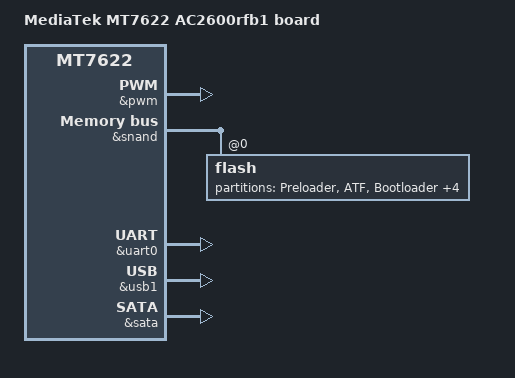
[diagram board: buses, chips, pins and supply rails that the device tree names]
/*
 * Copyright (c) 2017 MediaTek Inc.
 * Author: Ming Huang <ming.huang@mediatek.com>
 *
 * This program is free software; you can redistribute it and/or modify
 * it under the terms of the GNU General Public License version 2 as
 * published by the Free Software Foundation.
 *
 * This program is distributed in the hope that it will be useful,
 * but WITHOUT ANY WARRANTY; without even the implied warranty of
 * MERCHANTABILITY or FITNESS FOR A PARTICULAR PURPOSE.  See the
 * GNU General Public License for more details.
 */

/dts-v1/;
#include "mt7622.dtsi"
#include "mt6380.dtsi"
#include <dt-bindings/input/input.h>

/ {
	model = "MediaTek MT7622 AC2600rfb1 board";
	compatible = "mediatek,mt7622-ac2600rfb1", "mediatek,mt7622";

	chosen {
		bootargs = "console=ttyS0,115200n1 root=/dev/mtdblock7 swiotlb=512 \
			initrd=0x44000000,0x615E36 loglevel=8 rootfstype=squashfs";
	};

	mmc_fixed_1v8_io: fixedregulator@0 {
		compatible = "regulator-fixed";
		regulator-name = "mmc_io";
		regulator-min-microvolt = <1800000>;
		regulator-max-microvolt = <1800000>;
		regulator-always-on;
	};

	mmc_fixed_3v3_power: fixedregulator@1 {
		compatible = "regulator-fixed";
		regulator-name = "mmc_power";
		regulator-min-microvolt = <3300000>;
		regulator-max-microvolt = <3300000>;
		regulator-always-on;
	};

	memory {
		reg = <0 0x40000000 0 0x3F000000>;
	};

	sound: sound {
		compatible = "mediatek,mt7622-wm8960-machine";
		mediatek,platform = <&afe>;
		audio-routing =
				"Headphone", "HP_L",
				"Headphone", "HP_R",
				"LINPUT2", "AMIC",
				"RINPUT2", "AMIC";
		mediatek,audio-codec = <&wm8960>;
		pinctrl-names = "default";
		pinctrl-0 = <&aud_pins_default>;
		status = "disabled";
	};

	gpio-keys {
		compatible = "gpio-keys";
		#address-cells = <1>;
		#size-cells = <0>;

		reset {
			label = "reset";
			gpios = <&pio 0 1>;
			linux,code = <KEY_RESTART>;
		};

		wps {
			label = "wps";
			gpios = <&pio 102 1>;
			linux,code = <KEY_WPS_BUTTON>;
		};
	};

};

&auxadc {
	status = "okay";
};

&bch {
	status = "disabled";
};

&cpu0 {
	proc-supply = <&mt6380_vcpu_reg>;
	sram-supply = <&mt6380_vm_reg>;
};

&cpu1 {
	proc-supply = <&mt6380_vcpu_reg>;
	sram-supply = <&mt6380_vm_reg>;
};

&efuse {
	status = "okay";
};

&raeth {
	mac-address = [00 00 00 00 00 00];
	dma-coherent;
	wan_at = "p4";
	gmac1-support = "sgmii-1";
	sgmii-mode-1 = "force-2500";
	#gmac1-support = "rgmii-1";
	#rgmii-mode-1 = "force-1000";
	#gmac1-phy-address = <0x1f>;
	gmac2-support = "rgmii-2";
	rgmii-mode-2 = "force-1000";
	#rgmii-mode-2 = "an";
	#gmac2-phy-address = <0x1e>;
	gmac1_txq_num = <1>;
	gmac1_txq_txd_num = <2048>;
	gmac2_txq_num = <1>;
	gmac2_txq_txd_num = <1024>;
	num_rx_desc = <2048>;
	status = "okay";
};

&ioc {
	mediatek,en_eth;
};

&i2c0 {
	pinctrl-names = "default";
	pinctrl-0 = <&i2c0_pins>;
	status = "disabled";

	wm8960: wm8960@1a {
		compatible = "wlf,wm8960";
		reg = <0x1a>;
	};
};

&i2c1 {
	status = "okay";
};

&i2c2 {
	status = "okay";
};

&mmc0 {
	pinctrl-names = "default", "state_uhs";
	pinctrl-0 = <&mmc0_pins_default>;
	pinctrl-1 = <&mmc0_pins_uhs>;
	status = "okay";
	bus-width = <8>;
	max-frequency = <50000000>;
	cap-mmc-highspeed;
	mmc-hs200-1_8v;
	vmmc-supply = <&mmc_fixed_3v3_power>;
	vqmmc-supply = <&mmc_fixed_1v8_io>;
	assigned-clocks = <&topckgen CLK_TOP_MSDC30_0_SEL>;
	assigned-clock-parents = <&topckgen CLK_TOP_UNIV48M>;
	non-removable;
};

&mmc1 {
	pinctrl-names = "default", "state_uhs";
	pinctrl-0 = <&mmc1_pins_default>;
	pinctrl-1 = <&mmc1_pins_uhs>;
	status = "okay";
	bus-width = <4>;
	max-frequency = <50000000>;
	cap-sd-highspeed;
	r_smpl = <1>;
	cd-gpios = <&pio 81 0>;
	vmmc-supply = <&mmc_fixed_3v3_power>;
	vqmmc-supply = <&mmc_fixed_3v3_power>;
	assigned-clocks = <&topckgen CLK_TOP_MSDC30_1_SEL>;
	assigned-clock-parents = <&topckgen CLK_TOP_UNIV48M>;
};

&nandc {
	pinctrl-names = "default";
	pinctrl-0 = <&nand_pins_default>;
	status = "disabled";
	flash@0 {
		reg = <0>;
		nand-ecc-mode = "hw";
		partitions {
			compatible = "fixed-partitions";
			#address-cells = <1>;
			#size-cells = <1>;

			partition@0 {
				label = "Preloader";
				reg = <0x00000 0x0080000>;
				read-only;
			};

			partition@80000 {
				label = "ATF";
				reg = <0x80000 0x0040000>;
			};

			partition@c0000 {
				label = "Bootloader";
				reg = <0xc0000 0x0080000>;
			};

			partition@140000 {
				label = "Config";
				reg = <0x140000 0x0080000>;
			};

			partition@1c0000 {
				label = "Factory";
				reg = <0x1c0000 0x0040000>;
			};

			partition@200000 {
				label = "Kernel";
				reg = <0x200000 0x2000000>;
			};

			partition@2200000 {
				label = "User_data";
				reg = <0x2200000 0x4000000>;
			};
		};
	};
};

&nor_flash {
	status = "okay";
	flash@0 {
		compatible = "jedec,spi-nor";
		#address-cells = <1>;
		#size-cells = <1>;
		partition@00000 {
			label = "Preloader";
			reg = <0x00000 0x0040000>;
		};
		partition@40000 {
			label = "ATF";
			reg = <0x40000 0x0020000>;
		};
		partition@60000 {
			label = "Bootloader";
			reg = <0x60000 0x0040000>;
		};
		partition@A0000 {
			label = "Config";
			reg = <0xA0000 0x0020000>;
		};
		partition@C0000 {
			label = "Factory";
			reg = <0xC0000 0x0020000>;
		};
		partition@E0000 {
			label = "Kernel";
			reg = <0xE0000 0xF20000>;
		};
	};
};

&pio {
	pinctrl-names = "default";
	pinctrl-0 = <&state_default>;
	state_default:pinconf_default {
	};

	aud_pins_default: audiodefault {
		pins_cmd_dat {
			pinmux = <MT7622_PIN_3_I2S_BCLK__FUNC_I2S_BCLK_OUT>,
				<MT7622_PIN_4_I2S_WS__FUNC_I2S_WS_OUT>,
				<MT7622_PIN_5_I2S_MCLK__FUNC_I2S_MCLK>,
				<MT7622_PIN_2_I2S1_OUT__FUNC_I2S1_OUT>,
				<MT7622_PIN_1_I2S1_IN__FUNC_I2S1_IN>;
			drive-strength = <MTK_DRIVE_12mA>;
			bias-pull-down;
		};
	};

	i2c0_pins: i2c0@0 {
		pins_bus {
			pinmux = <MT7622_PIN_14_I2C_SDA__FUNC_I2C0_SDA>,
				 <MT7622_PIN_15_I2C_SCL__FUNC_I2C0_SCL>;
			bias-disable;
		};
	};

	mmc0_pins_default: mmc0default {
		pins_cmd_dat {
			pinmux = <MT7622_PIN_47_NDL0__FUNC_EMMC_DATA0>,
			       <MT7622_PIN_48_NDL1__FUNC_EMMC_DATA1>,
			       <MT7622_PIN_49_NDL2__FUNC_EMMC_DATA2>,
			       <MT7622_PIN_50_NDL3__FUNC_EMMC_DATA3>,
			       <MT7622_PIN_40_NDL4__FUNC_EMMC_DATA4>,
			       <MT7622_PIN_41_NDL5__FUNC_EMMC_DATA5>,
			       <MT7622_PIN_42_NDL6__FUNC_EMMC_DATA6>,
			       <MT7622_PIN_43_NDL7__FUNC_EMMC_DATA7>,
			       <MT7622_PIN_44_NRB__FUNC_EMMC_CMD>;
			input-enable;
			bias-pull-up;
		};

		pins_clk {
			pinmux = <MT7622_PIN_45_NCLE__FUNC_EMMC_CK>;
			bias-pull-down;
		};
	};

	mmc0_pins_uhs: mmc0@0{
		pins_cmd_dat {
			pinmux = <MT7622_PIN_47_NDL0__FUNC_EMMC_DATA0>,
			       <MT7622_PIN_48_NDL1__FUNC_EMMC_DATA1>,
			       <MT7622_PIN_49_NDL2__FUNC_EMMC_DATA2>,
			       <MT7622_PIN_50_NDL3__FUNC_EMMC_DATA3>,
			       <MT7622_PIN_40_NDL4__FUNC_EMMC_DATA4>,
			       <MT7622_PIN_41_NDL5__FUNC_EMMC_DATA5>,
			       <MT7622_PIN_42_NDL6__FUNC_EMMC_DATA6>,
			       <MT7622_PIN_43_NDL7__FUNC_EMMC_DATA7>,
			       <MT7622_PIN_44_NRB__FUNC_EMMC_CMD>;
			input-enable;
			drive-strength = <MTK_DRIVE_4mA>;
			bias-pull-up = <MTK_PUPD_SET_R1R0_01>;
		};

		pins_clk {
			pinmux = <MT7622_PIN_45_NCLE__FUNC_EMMC_CK>;
			drive-strength = <MTK_DRIVE_4mA>;
			bias-pull-down = <MTK_PUPD_SET_R1R0_10>;
		};
	};

	mmc1_pins_default: mmc1default {
		pins_cmd_dat {
			pinmux = <MT7622_PIN_19_I2S2_OUT__FUNC_SD_D0>,
			       <MT7622_PIN_18_I2S4_IN__FUNC_SD_D1>,
			       <MT7622_PIN_17_I2S3_IN__FUNC_SD_D2>,
			       <MT7622_PIN_16_I2S2_IN__FUNC_SD_D3>,
			       <MT7622_PIN_21_I2S4_OUT__FUNC_SD_CMD>;
			input-enable;
			drive-strength = <MTK_DRIVE_8mA>;
			bias-pull-up = <MTK_PUPD_SET_R1R0_01>;
		};

		pins_clk {
			pinmux = <MT7622_PIN_20_I2S3_OUT__FUNC_SD_CLK>;
			drive-strength = <MTK_DRIVE_12mA>;
			bias-pull-down = <MTK_PUPD_SET_R1R0_10>;
		};

		pins_insert {
			pinmux = <MT7622_PIN_81_TXD3__FUNC_GPIO81>;
			bias-pull-up;
		};
	};

	mmc1_pins_uhs: mmc1@0 {
		pins_cmd_dat {
			pinmux = <MT7622_PIN_19_I2S2_OUT__FUNC_SD_D0>,
			       <MT7622_PIN_18_I2S4_IN__FUNC_SD_D1>,
			       <MT7622_PIN_17_I2S3_IN__FUNC_SD_D2>,
			       <MT7622_PIN_16_I2S2_IN__FUNC_SD_D3>,
			       <MT7622_PIN_21_I2S4_OUT__FUNC_SD_CMD>;
			input-enable;
			bias-pull-up = <MTK_PUPD_SET_R1R0_01>;
		};

		pins_clk {
			pinmux = <MT7622_PIN_20_I2S3_OUT__FUNC_SD_CLK>;
			bias-pull-down = <MTK_PUPD_SET_R1R0_10>;
		};
	};

	nand_pins_default: nanddefault {
		pins_dat {
			pinmux = <MT7622_PIN_37_NCEB__FUNC_ND_CS_N>,
				 <MT7622_PIN_38_NWEB__FUNC_ND_WE_N>,
				 <MT7622_PIN_39_NREB__FUNC_ND_RE_N>,
				 <MT7622_PIN_40_NDL4__FUNC_ND_D4>,
				 <MT7622_PIN_41_NDL5__FUNC_ND_D5>,
				 <MT7622_PIN_42_NDL6__FUNC_ND_D6>,
				 <MT7622_PIN_43_NDL7__FUNC_ND_D7>,
				 <MT7622_PIN_44_NRB__FUNC_ND_RB_N>,
				 <MT7622_PIN_45_NCLE__FUNC_ND_CLE>,
				 <MT7622_PIN_46_NALE__FUNC_ND_ALE>,
				 <MT7622_PIN_47_NDL0__FUNC_ND_D0>,
				 <MT7622_PIN_48_NDL1__FUNC_ND_D1>,
				 <MT7622_PIN_49_NDL2__FUNC_ND_D2>,
				 <MT7622_PIN_50_NDL3__FUNC_ND_D3>;
			input-enable;
			drive-strength = <MTK_DRIVE_8mA>;
			bias-pull-up;
		};
	};

	snand_pins_default: snand@0 {
		pins_cmd_dat {
			pinmux = <MT7622_PIN_8_SPI_WP__FUNC_SNFI_WP>,
				 <MT7622_PIN_9_SPI_HOLD__FUNC_SNFI_HOLD>,
				 <MT7622_PIN_11_SPI_MOSI__FUNC_SNFI_MOSI>,
				 <MT7622_PIN_12_SPI_MISO__FUNC_SNFI_MISO>,
				 <MT7622_PIN_13_SPI_CS__FUNC_SNFI_CS>;
			input-enable;
			drive-strength = <MTK_DRIVE_16mA>;
			bias-pull-up = <MTK_PUPD_SET_R1R0_01>;
		};
		pins_clk {
			pinmux = <MT7622_PIN_10_SPI_CLK__FUNC_SNFI_CLK>;
			drive-strength = <MTK_DRIVE_16mA>;
			bias-pull-down = <MTK_PUPD_SET_R1R0_10>;
		};
	};

	wbsys_pins_default: wbsysdefault {
	};

	wbsys_pins_epa: wbsysepa {
		pins_cmd_dat {
			pinmux = <MT7622_PIN_91_TXD4__FUNC_ANTSEL0>,
			       <MT7622_PIN_92_RXD4__FUNC_ANTSEL1>,
			       <MT7622_PIN_93_RTS4_N__FUNC_ANTSEL2>,
			       <MT7622_PIN_94_CTS4_N__FUNC_ANTSEL3>,
			       <MT7622_PIN_95_PWM1__FUNC_ANTSEL4>,
			       <MT7622_PIN_96_PWM2__FUNC_ANTSEL5>,
			       <MT7622_PIN_97_PWM3__FUNC_ANTSEL6>,
			       <MT7622_PIN_98_PWM4__FUNC_ANTSEL7>,
			       <MT7622_PIN_99_PWM5__FUNC_ANTSEL8>,
			       <MT7622_PIN_100_PWM6__FUNC_ANTSEL9>,
			       <MT7622_PIN_73_SPIC1_CLK__FUNC_ANTSEL12>,
			       <MT7622_PIN_74_SPIC1_MOSI__FUNC_ANTSEL13>,
			       <MT7622_PIN_75_SPIC1_MISO__FUNC_ANTSEL14>,
			       <MT7622_PIN_76_SPIC1_CS__FUNC_ANTSEL15>,
			       <MT7622_PIN_77_GPIO_D__FUNC_ANTSEL16>,
			       <MT7622_PIN_22_GPIO_B__FUNC_ANTSEL17>;
		};
	};
};

&pwm {
	status = "okay";
};

&snand {
	pinctrl-0 = <&snand_pins_default>;
	status = "okay";
	flash@0 {
		partitions {
			compatible = "fixed-partitions";
			#address-cells = <1>;
			#size-cells = <1>;

			partition@0 {
				label = "Preloader";
				reg = <0x00000 0x0080000>;
				read-only;
			};

			partition@80000 {
				label = "ATF";
				reg = <0x80000 0x0040000>;
			};

			partition@c0000 {
				label = "Bootloader";
				reg = <0xc0000 0x0080000>;
			};

			partition@140000 {
				label = "Config";
				reg = <0x140000 0x0080000>;
			};

			partition@1c0000 {
				label = "Factory";
				reg = <0x1c0000 0x0040000>;
			};

			partition@200000 {
				label = "Kernel";
				reg = <0x200000 0x2000000>;
			};

			partition@2200000 {
				label = "User_data";
				reg = <0x2200000 0x4000000>;
			};
		};
	};
};

&svs {
	vproc-supply = <&mt6380_vcpu_reg>;
};

&uart0 {
	status = "okay";
};

&usb1 {
	status = "okay";
};

&u3phy1 {
	status = "okay";
};

&sata {
	status = "okay";
};

&sata_phy {
	status = "okay";
};

&wbsys {
	pinctrl-names = "default", "state_epa";
	pinctrl-0 = <&wbsys_pins_default>;
	pinctrl-1 = <&wbsys_pins_epa>;
	status = "okay";
};

